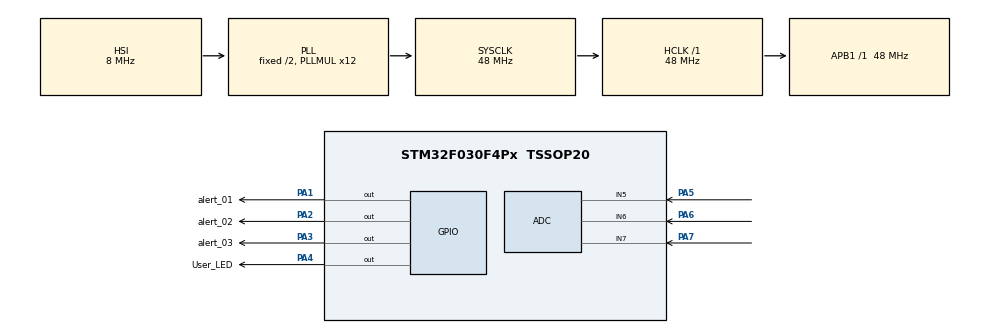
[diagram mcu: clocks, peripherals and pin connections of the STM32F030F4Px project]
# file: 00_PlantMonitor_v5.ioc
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ADC.ContinuousConvMode=DISABLE
ADC.ExternalTrigConv=ADC_EXTERNALTRIGCONV_T1_TRGO
ADC.SamplingTime=ADC_SAMPLETIME_71CYCLES_5
Dma.ADC.0.Direction=DMA_PERIPH_TO_MEMORY
Dma.ADC.0.Instance=DMA1_Channel1
Dma.ADC.0.MemDataAlignment=DMA_MDATAALIGN_HALFWORD
Dma.ADC.0.MemInc=DMA_MINC_ENABLE
Dma.ADC.0.Mode=DMA_CIRCULAR
Dma.ADC.0.PeriphDataAlignment=DMA_PDATAALIGN_HALFWORD
Dma.ADC.0.PeriphInc=DMA_PINC_DISABLE
Dma.ADC.0.Priority=DMA_PRIORITY_LOW
Dma.Request0=ADC
Mcu.Family=STM32F0
Mcu.Name=STM32F030F4Px
Mcu.Package=TSSOP20
NVIC.DMA1_Channel1_IRQn=true\:0\:0\:false\:false\:true\:false\:true\:true
NVIC.TIM1_BRK_UP_TRG_COM_IRQn=true\:0\:0\:false\:false\:true\:true\:true\:true
PA1.GPIO_Label=alert_01
PA1.Signal=GPIO_Output
PA2.GPIO_Label=alert_02
PA2.Signal=GPIO_Output
PA3.GPIO_Label=alert_03
PA3.Signal=GPIO_Output
PA4.GPIO_Label=User_LED
PA4.Signal=GPIO_Output
PA5.Mode=IN5
PA5.Signal=ADC_IN5
PA6.Mode=IN6
PA6.Signal=ADC_IN6
PA7.Mode=IN7
PA7.Signal=ADC_IN7
ProjectManager.HeapSize=0x200
ProjectManager.StackSize=0x400
ProjectManager.TargetToolchain=STM32CubeIDE
RCC.AHBFreq_Value=48000000
RCC.APB1Freq_Value=48000000
RCC.APB1TimFreq_Value=48000000
RCC.HCLKFreq_Value=48000000
RCC.PLLMUL=RCC_PLL_MUL12
RCC.SYSCLKFreq_VALUE=48000000
RCC.SYSCLKSource=RCC_SYSCLKSOURCE_PLLCLK
TIM1.Period=48000-1
TIM1.TIM_MasterOutputTrigger=TIM_TRGO_UPDATE
VP_TIM1_VS_ClockSourceINT.Mode=Internal
board=custom

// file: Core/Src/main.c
/* USER CODE BEGIN Header */
/**
  ******************************************************************************
  * @file           : main.c
  * @brief          : Main program body
  ******************************************************************************
  * @attention
  *
  * Copyright (c) 2025 STMicroelectronics.
  * All rights reserved.
  *
  * This software is licensed under terms that can be found in the LICENSE file
  * in the root directory of this software component.
  * If no LICENSE file comes with this software, it is provided AS-IS.
  *
  ******************************************************************************
  */
/* USER CODE END Header */
#include "main.h"
#include "components.h"
#include "utils.h"

ADC_HandleTypeDef hadc;
DMA_HandleTypeDef hdma_adc;

TIM_HandleTypeDef htim1;

void SystemClock_Config(void);
static void MX_GPIO_Init(void);
static void MX_DMA_Init(void);
static void MX_ADC_Init(void);
static void MX_TIM1_Init(void);

/* USER CODE BEGIN 0 */

volatile uint16_t adc_results[3] = {0}; // 3 adc channel

monitor_t monitor_1;

/* USER CODE END 0 */

int main(void)
{

  /* MCU Configuration--------------------------------------------------------*/

  /* Reset of all peripherals, Initializes the Flash interface and the Systick. */
  HAL_Init();

  /* Configure the system clock */
  SystemClock_Config();

  /* Initialize all configured peripherals */
  MX_GPIO_Init();
  MX_DMA_Init();
  MX_ADC_Init();
  MX_TIM1_Init();
  /* USER CODE BEGIN 2 */

  HAL_TIM_Base_Start_IT(&htim1); // start timer

  //monitor_ctor(&monitor_1, 2500, false);
 // monitor_ctor(&monitor_2, 2500, false);
 monitor_ctor(&monitor_1);

  /* USER CODE END 2 */

  /* Infinite loop */
  /* USER CODE BEGIN WHILE */

  while (1)
  {

	  HAL_ADC_Start_DMA(&hadc, (uint32_t *)adc_results, sizeof(adc_results)/sizeof(adc_results[0]));

	  HAL_Delay(100);

	 // monitor_ctor(&monitor_2);

	  monitor_1.conductivity_sensors[0].raw_analog_value = adc_results[0];
	  monitor_1.conductivity_sensors[1].raw_analog_value = adc_results[1];

	  //set LED alarms per conductivity sensor
	  monitor_1.vptr->fptr1(&monitor_1);
	  monitor_1.vptr->fptr2(&monitor_1);

	//  set_alert1(&monitor_1);
	//  set_alert2(&monitor_1);

	  switch(monitor_1.led_alarms[0].led_state)
	  {
	  case ALARM_TOG:
		  HAL_GPIO_TogglePin(GPIOA, GPIO_PIN_1);
		  break;

	  case ALARM_SET:
		  HAL_GPIO_WritePin(GPIOA, GPIO_PIN_1, GPIO_PIN_SET);
		  break;

	  default:
		  HAL_GPIO_WritePin(GPIOA, GPIO_PIN_1, GPIO_PIN_RESET);
		  break;

	  }

	  switch(monitor_1.led_alarms[1].led_state)
	  {
	  case ALARM_TOG:
		  HAL_GPIO_TogglePin(GPIOA, GPIO_PIN_2);
		  break;

	  case ALARM_SET:
		  HAL_GPIO_WritePin(GPIOA, GPIO_PIN_2, GPIO_PIN_SET);
		  break;

	  default:
		  HAL_GPIO_WritePin(GPIOA, GPIO_PIN_2, GPIO_PIN_RESET);
		  break;

	  }

//	  assign_analog_value(&monitor_1, adc_results[0]);
//	  assign_analog_value(&monitor_2, adc_results[1]);
//
//
//
//	   set_alert(&monitor_1);
//	   set_alert(&monitor_2);
//
//	   toggle_alert(&monitor_1, GPIOA, GPIO_PIN_1);
//	   toggle_alert(&monitor_2, GPIOA, GPIO_PIN_2);

//	   if(monitor_2.alert_status == true)
//	   {
//		   HAL_GPIO_TogglePin(GPIOA, GPIO_PIN_2);
//	   }
//	   else
//	   {
//		   HAL_GPIO_WritePin(GPIOA, GPIO_PIN_2,GPIO_PIN_RESET);
//	   }

	  HAL_Delay(100);
    /* USER CODE END WHILE */

  }
}

void SystemClock_Config(void)
{
  RCC_OscInitTypeDef RCC_OscInitStruct = {0};
  RCC_ClkInitTypeDef RCC_ClkInitStruct = {0};

  /** Initializes the RCC Oscillators according to the specified parameters
  * in the RCC_OscInitTypeDef structure.
  */
  RCC_OscInitStruct.OscillatorType = RCC_OSCILLATORTYPE_HSI|RCC_OSCILLATORTYPE_HSI14;
  RCC_OscInitStruct.HSIState = RCC_HSI_ON;
  RCC_OscInitStruct.HSI14State = RCC_HSI14_ON;
  RCC_OscInitStruct.HSICalibrationValue = RCC_HSICALIBRATION_DEFAULT;
  RCC_OscInitStruct.HSI14CalibrationValue = 16;
  RCC_OscInitStruct.PLL.PLLState = RCC_PLL_ON;
  RCC_OscInitStruct.PLL.PLLSource = RCC_PLLSOURCE_HSI;
  RCC_OscInitStruct.PLL.PLLMUL = RCC_PLL_MUL12;
  RCC_OscInitStruct.PLL.PREDIV = RCC_PREDIV_DIV1;
  if (HAL_RCC_OscConfig(&RCC_OscInitStruct) != HAL_OK)
  {
    Error_Handler();
  }

  /** Initializes the CPU, AHB and APB buses clocks
  */
  RCC_ClkInitStruct.ClockType = RCC_CLOCKTYPE_HCLK|RCC_CLOCKTYPE_SYSCLK
                              |RCC_CLOCKTYPE_PCLK1;
  RCC_ClkInitStruct.SYSCLKSource = RCC_SYSCLKSOURCE_PLLCLK;
  RCC_ClkInitStruct.AHBCLKDivider = RCC_SYSCLK_DIV1;
  RCC_ClkInitStruct.APB1CLKDivider = RCC_HCLK_DIV1;

  if (HAL_RCC_ClockConfig(&RCC_ClkInitStruct, FLASH_LATENCY_1) != HAL_OK)
  {
    Error_Handler();
  }
}

static void MX_ADC_Init(void)
{

  ADC_ChannelConfTypeDef sConfig = {0};

  /** Configure the global features of the ADC (Clock, Resolution, Data Alignment and number of conversion)
  */
  hadc.Instance = ADC1;
  hadc.Init.ClockPrescaler = ADC_CLOCK_ASYNC_DIV1;
  hadc.Init.Resolution = ADC_RESOLUTION_12B;
  hadc.Init.DataAlign = ADC_DATAALIGN_RIGHT;
  hadc.Init.ScanConvMode = ADC_SCAN_DIRECTION_FORWARD;
  hadc.Init.EOCSelection = ADC_EOC_SINGLE_CONV;
  hadc.Init.LowPowerAutoWait = DISABLE;
  hadc.Init.LowPowerAutoPowerOff = DISABLE;
  hadc.Init.ContinuousConvMode = DISABLE;
  hadc.Init.DiscontinuousConvMode = DISABLE;
  hadc.Init.ExternalTrigConv = ADC_EXTERNALTRIGCONV_T1_TRGO;
  hadc.Init.ExternalTrigConvEdge = ADC_EXTERNALTRIGCONVEDGE_RISING;
  hadc.Init.DMAContinuousRequests = DISABLE;
  hadc.Init.Overrun = ADC_OVR_DATA_PRESERVED;
  if (HAL_ADC_Init(&hadc) != HAL_OK)
  {
    Error_Handler();
  }

  /** Configure for the selected ADC regular channel to be converted.
  */
  sConfig.Channel = ADC_CHANNEL_5;
  sConfig.Rank = ADC_RANK_CHANNEL_NUMBER;
  sConfig.SamplingTime = ADC_SAMPLETIME_71CYCLES_5;
  if (HAL_ADC_ConfigChannel(&hadc, &sConfig) != HAL_OK)
  {
    Error_Handler();
  }

  /** Configure for the selected ADC regular channel to be converted.
  */
  sConfig.Channel = ADC_CHANNEL_6;
  if (HAL_ADC_ConfigChannel(&hadc, &sConfig) != HAL_OK)
  {
    Error_Handler();
  }

  /** Configure for the selected ADC regular channel to be converted.
  */
  sConfig.Channel = ADC_CHANNEL_7;
  if (HAL_ADC_ConfigChannel(&hadc, &sConfig) != HAL_OK)
  {
    Error_Handler();
  }

}

static void MX_TIM1_Init(void)
{

  TIM_ClockConfigTypeDef sClockSourceConfig = {0};
  TIM_MasterConfigTypeDef sMasterConfig = {0};

  htim1.Instance = TIM1;
  htim1.Init.Prescaler = 0;
  htim1.Init.CounterMode = TIM_COUNTERMODE_UP;
  htim1.Init.Period = 48000-1;
  htim1.Init.ClockDivision = TIM_CLOCKDIVISION_DIV1;
  htim1.Init.RepetitionCounter = 0;
  htim1.Init.AutoReloadPreload = TIM_AUTORELOAD_PRELOAD_DISABLE;
  if (HAL_TIM_Base_Init(&htim1) != HAL_OK)
  {
    Error_Handler();
  }
  sClockSourceConfig.ClockSource = TIM_CLOCKSOURCE_INTERNAL;
  if (HAL_TIM_ConfigClockSource(&htim1, &sClockSourceConfig) != HAL_OK)
  {
    Error_Handler();
  }
  sMasterConfig.MasterOutputTrigger = TIM_TRGO_UPDATE;
  sMasterConfig.MasterSlaveMode = TIM_MASTERSLAVEMODE_DISABLE;
  if (HAL_TIMEx_MasterConfigSynchronization(&htim1, &sMasterConfig) != HAL_OK)
  {
    Error_Handler();
  }

}

static void MX_DMA_Init(void)
{

  /* DMA controller clock enable */
  __HAL_RCC_DMA1_CLK_ENABLE();

  /* DMA interrupt init */
  /* DMA1_Channel1_IRQn interrupt configuration */
  HAL_NVIC_SetPriority(DMA1_Channel1_IRQn, 0, 0);
  HAL_NVIC_EnableIRQ(DMA1_Channel1_IRQn);

}

static void MX_GPIO_Init(void)
{
  GPIO_InitTypeDef GPIO_InitStruct = {0};

  /* GPIO Ports Clock Enable */
  __HAL_RCC_GPIOA_CLK_ENABLE();

  /*Configure GPIO pin Output Level */
  HAL_GPIO_WritePin(GPIOA, alert_01_Pin|alert_02_Pin|alert_03_Pin|User_LED_Pin, GPIO_PIN_RESET);

  /*Configure GPIO pins : alert_01_Pin alert_02_Pin alert_03_Pin User_LED_Pin */
  GPIO_InitStruct.Pin = alert_01_Pin|alert_02_Pin|alert_03_Pin|User_LED_Pin;
  GPIO_InitStruct.Mode = GPIO_MODE_OUTPUT_PP;
  GPIO_InitStruct.Pull = GPIO_NOPULL;
  GPIO_InitStruct.Speed = GPIO_SPEED_FREQ_LOW;
  HAL_GPIO_Init(GPIOA, &GPIO_InitStruct);

}

/* USER CODE BEGIN 4 */

//--[Pre-scaled to trigger ~1ms]
 void HAL_TIM_PeriodElapsedCallback(TIM_HandleTypeDef *htim)
{
  /* Prevent unused argument(s) compilation warning */
 // UNUSED(htim);
	// HAL_GPIO_WritePin(User_LED_GPIO_Port,User_LED_Pin, GPIO_PIN_SET ); // led on

	 HAL_ADC_Start_DMA(&hadc, (uint32_t *)adc_results, sizeof(adc_results)/sizeof(adc_results[0]));

  /* NOTE : This function should not be modified, when the callback is needed,
            the HAL_TIM_PeriodElapsedCallback could be implemented in the user file
   */
}

void HAL_ADC_ConvCpltCallback(ADC_HandleTypeDef *hadc)
{
	UNUSED(hadc);
	//HAL_GPIO_WritePin(User_LED_GPIO_Port,User_LED_Pin, GPIO_PIN_RESET );
}
/* USER CODE END 4 */

void Error_Handler(void)
{
  __disable_irq();
  while (1)
  {
  }
}
